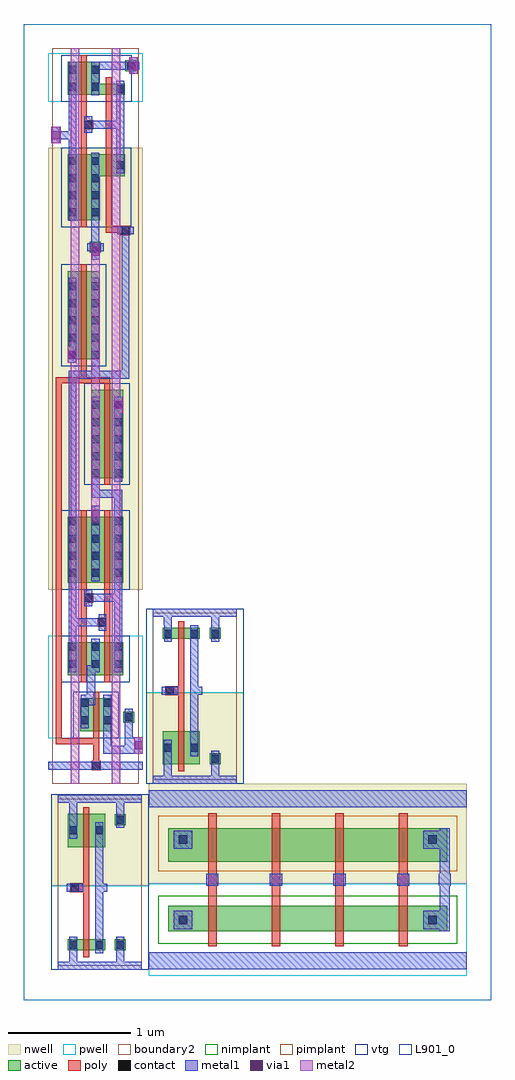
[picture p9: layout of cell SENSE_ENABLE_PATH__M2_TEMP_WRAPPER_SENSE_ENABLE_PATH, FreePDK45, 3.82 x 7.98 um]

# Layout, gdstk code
import gdstk
lib = gdstk.Library(unit=1e-6, precision=1e-09)
def R(c, l, rs):  # rectangles x0, y0, x1, y1
    for r in rs: c.add(gdstk.rectangle(r[:2], r[2:], *l))
def A(c, l, x, y, w, h, nx, ny, dx, dy):  # array of equal rectangles
    R(c, l, [(x+i*dx, y+j*dy, x+i*dx+w, y+j*dy+h) for i in range(nx) for j in range(ny)])
def P(c, l, *ps):  # polygons
    for p in ps: c.add(gdstk.Polygon(p, *l))
active = (1, 0)
pwell = (2, 0)
nwell = (3, 0)
nimplant = (4, 0)
pimplant = (5, 0)
vtg = (6, 0)
poly = (9, 0)
contact = (10, 0)
metal1 = (11, 0)
via1 = (12, 0)
metal2 = (13, 0)
boundary2 = (239, 0)
L901_0 = (901, 0)

sense_enable_path__sense = lib.new_cell('SENSE_ENABLE_PATH__SENSE_ENABLE_PATH__sram_1rw_32x16_freepdk45_contact_11')
R(sense_enable_path__sense, active, [(0,0.022,0.09,0.112)])
R(sense_enable_path__sense, nwell, [(-0.055,-0.033,0.145,0.168)])
R(sense_enable_path__sense, pimplant, [(0,0.022,0.09,0.112)])
R(sense_enable_path__sense, contact, [(0.013,0.035,0.077,0.1)])
R(sense_enable_path__sense, metal1, [(0.013,0,0.077,0.135)])
R(sense_enable_path__sense, boundary2, [(-0.055,-0.033,0.145,0.168)])

c_sense_enable_path__sense = lib.new_cell('SENSE_ENABLE_PATH__SENSE_ENABLE_PATH__sram_1rw_32x16_freepdk45_pmos_m1_w0_270_sm1_dm1_da_p')
R(c_sense_enable_path__sense, active, [(0,0,0.305,0.27)])
R(c_sense_enable_path__sense, nwell, [(-0.08,-0.08,0.385,0.35)])
R(c_sense_enable_path__sense, pimplant, [(0,0,0.305,0.27)])
R(c_sense_enable_path__sense, vtg, [(-0.08,-0.08,0.385,0.35)])
R(c_sense_enable_path__sense, poly, [(0.127,-0.055,0.177,0.325), (0.127,-0.055,0.177,0.325)])
R(c_sense_enable_path__sense, metal1, [(0.013,0.068,0.077,0.203), (0.227,0.068,0.292,0.203)])
R(c_sense_enable_path__sense, boundary2, [(-0.08,-0.08,0.385,0.35)])
c_sense_enable_path__sense.add(gdstk.Reference(sense_enable_path__sense, (0,0.068)))
c_sense_enable_path__sense.add(gdstk.Reference(sense_enable_path__sense, (0.215,0.068)))
c_sense_enable_path__sense.add(gdstk.Label('G', (0.152,0.135), layer=9, texttype=0))
c_sense_enable_path__sense.add(gdstk.Label('S', (0.045,0.135), layer=11, texttype=0))
c_sense_enable_path__sense.add(gdstk.Label('D', (0.26,0.135), layer=11, texttype=0))

c_sense_enable_path__sense_ = lib.new_cell('SENSE_ENABLE_PATH__SENSE_ENABLE_PATH__sram_1rw_32x16_freepdk45_contact_10')
R(c_sense_enable_path__sense_, active, [(0,0.022,0.09,0.112)])
R(c_sense_enable_path__sense_, pwell, [(-0.055,-0.033,0.145,0.168)])
R(c_sense_enable_path__sense_, nimplant, [(0,0.022,0.09,0.112)])
R(c_sense_enable_path__sense_, contact, [(0.013,0.035,0.077,0.1)])
R(c_sense_enable_path__sense_, metal1, [(0.013,0,0.077,0.135)])
R(c_sense_enable_path__sense_, boundary2, [(-0.055,-0.033,0.145,0.168)])

c_sense_enable_path__sense__ = lib.new_cell('SENSE_ENABLE_PATH__SENSE_ENABLE_PATH__sram_1rw_32x16_freepdk45_nmos_m1_w0_090_sm1_dm1_da_p')
R(c_sense_enable_path__sense__, active, [(0,0,0.305,0.09)])
R(c_sense_enable_path__sense__, pwell, [(-0.08,-0.08,0.385,0.17)])
R(c_sense_enable_path__sense__, nimplant, [(0,0,0.305,0.09)])
R(c_sense_enable_path__sense__, vtg, [(-0.08,-0.08,0.385,0.17)])
R(c_sense_enable_path__sense__, poly, [(0.127,-0.055,0.177,0.145), (0.127,-0.055,0.177,0.145)])
R(c_sense_enable_path__sense__, metal1, [(0.013,-0.022,0.077,0.112), (0.227,-0.022,0.292,0.112)])
R(c_sense_enable_path__sense__, boundary2, [(-0.08,-0.08,0.385,0.17)])
c_sense_enable_path__sense__.add(gdstk.Reference(c_sense_enable_path__sense_, (0,-0.022)))
c_sense_enable_path__sense__.add(gdstk.Reference(c_sense_enable_path__sense_, (0.215,-0.022)))
c_sense_enable_path__sense__.add(gdstk.Label('G', (0.152,0.045), layer=9, texttype=0))
c_sense_enable_path__sense__.add(gdstk.Label('S', (0.045,0.045), layer=11, texttype=0))
c_sense_enable_path__sense__.add(gdstk.Label('D', (0.26,0.045), layer=11, texttype=0))

c_sense_enable_path__sense___ = lib.new_cell('SENSE_ENABLE_PATH__SENSE_ENABLE_PATH__sram_1rw_32x16_freepdk45_contact_12')
R(c_sense_enable_path__sense___, active, [(0,0.022,0.09,0.112)])
R(c_sense_enable_path__sense___, nwell, [(-0.055,-0.033,0.145,0.168)])
R(c_sense_enable_path__sense___, nimplant, [(0,0.022,0.09,0.112)])
R(c_sense_enable_path__sense___, contact, [(0.013,0.035,0.077,0.1)])
R(c_sense_enable_path__sense___, metal1, [(0.013,0,0.077,0.135)])
R(c_sense_enable_path__sense___, boundary2, [(-0.055,-0.033,0.145,0.168)])

c_sense_enable_path__sense____ = lib.new_cell('SENSE_ENABLE_PATH__SENSE_ENABLE_PATH__sram_1rw_32x16_freepdk45_contact_13')
R(c_sense_enable_path__sense____, active, [(0,0.022,0.09,0.112)])
R(c_sense_enable_path__sense____, pwell, [(-0.055,-0.033,0.145,0.168)])
R(c_sense_enable_path__sense____, pimplant, [(0,0.022,0.09,0.112)])
R(c_sense_enable_path__sense____, contact, [(0.013,0.035,0.077,0.1)])
R(c_sense_enable_path__sense____, metal1, [(0.013,0,0.077,0.135)])
R(c_sense_enable_path__sense____, boundary2, [(-0.055,-0.033,0.145,0.168)])

c_sense_enable_path__sense_____ = lib.new_cell('SENSE_ENABLE_PATH__SENSE_ENABLE_PATH__sram_1rw_32x16_freepdk45_contact_14')
R(c_sense_enable_path__sense_____, poly, [(0.03,0,0.105,0.075)])
R(c_sense_enable_path__sense_____, contact, [(0.035,0.005,0.1,0.07)])
R(c_sense_enable_path__sense_____, metal1, [(0,0.005,0.135,0.07)])
R(c_sense_enable_path__sense_____, boundary2, [(0,0,0.135,0.075)])

c_sense_enable_path__sense______ = lib.new_cell('SENSE_ENABLE_PATH__SENSE_ENABLE_PATH__gen_inv')
R(c_sense_enable_path__sense______, pwell, [(-0.055,-0.033,0.743,0.655)])
R(c_sense_enable_path__sense______, nwell, [(-0.055,0.655,0.743,1.4)])
R(c_sense_enable_path__sense______, vtg, [(-0.055,-0.033,0.743,0.655), (-0.055,0.655,0.743,1.4)])
R(c_sense_enable_path__sense______, poly, [(0.208,0.27,0.258,0.915), (0.14,0.6,0.208,0.675)])
R(c_sense_enable_path__sense______, metal1, [(0,-0.033,0.687,0.033), (0.092,-0.033,0.157,0.103), (0.478,0,0.542,0.17), (0.307,0.103,0.372,1.173), (0.072,0.605,0.208,0.67), (0.34,0.605,0.405,0.67), (0.092,1.038,0.157,1.397), (0.478,1.195,0.542,1.365), (0,1.332,0.687,1.397)])
R(c_sense_enable_path__sense______, boundary2, [(0,0,0.687,1.365), (0,0,0.687,1.365)])
c_sense_enable_path__sense______.add(gdstk.Reference(c_sense_enable_path__sense, (0.08,0.97)))
c_sense_enable_path__sense______.add(gdstk.Reference(c_sense_enable_path__sense__, (0.08,0.125)))
c_sense_enable_path__sense______.add(gdstk.Reference(c_sense_enable_path__sense___, (0.465,1.127)))
c_sense_enable_path__sense______.add(gdstk.Reference(c_sense_enable_path__sense____, (0.465,0.103)))
c_sense_enable_path__sense______.add(gdstk.Reference(c_sense_enable_path__sense_____, (0.072,0.6)))
c_sense_enable_path__sense______.add(gdstk.Label('A', (0.14,0.638), layer=11, texttype=0))
c_sense_enable_path__sense______.add(gdstk.Label('Z', (0.372,0.638), layer=11, texttype=0))
c_sense_enable_path__sense______.add(gdstk.Label('gnd', (0.345,0), layer=11, texttype=0))
c_sense_enable_path__sense______.add(gdstk.Label('vdd', (0.345,1.365), layer=11, texttype=0))

c_sense_enable_path__sense_______ = lib.new_cell('SENSE_ENABLE_PATH__SENSE_ENABLE_PATH__gen_nand4')
R(c_sense_enable_path__sense_______, active, [(0.16,0.36,2.44,0.57), (0.16,0.93,2.44,1.205)])
R(c_sense_enable_path__sense_______, pwell, [(0,0,2.6,0.75)])
R(c_sense_enable_path__sense_______, nwell, [(0,0.75,2.6,1.565)])
R(c_sense_enable_path__sense_______, nimplant, [(0.08,0.26,2.52,0.65)])
R(c_sense_enable_path__sense_______, pimplant, [(0.08,0.85,2.52,1.305)])
A(c_sense_enable_path__sense_______, poly, 0.485, 0.24, 0.07, 1.085, 4, 1, 0.52, 0)
R(c_sense_enable_path__sense_______, contact, [(0.245,0.42,0.315,0.49), (2.285,0.42,2.355,0.49), (0.245,1.075,0.315,1.145), (2.285,1.075,2.355,1.145)])
A(c_sense_enable_path__sense_______, metal1, 0.47, 0.733, 0.1, 0.099, 4, 1, 0.52, 0)
R(c_sense_enable_path__sense_______, metal1, [(0,0.05,2.6,0.19), (1.25,0.07,1.35,0.17), (2.38,0.36,2.46,1.205), (0.205,0.38,0.355,0.53), (2.245,0.38,2.395,0.53), (2.37,0.733,2.47,0.832), (0.205,1.035,0.355,1.185), (2.245,1.035,2.395,1.185), (0,1.375,2.6,1.515), (1.25,1.395,1.35,1.495)])

c_sense_enable_path__sense________ = lib.new_cell('SENSE_ENABLE_PATH__SENSE_ENABLE_PATH__sense_amp')
R(c_sense_enable_path__sense________, active, [(0.595,0.095,0.685,0.185), (0.307,1.58,0.397,1.67), (0.127,1.82,0.387,2.54), (0.127,1.82,0.202,2.54), (0.127,1.82,0.202,2.54), (0.312,1.82,0.387,2.54), (0.312,1.82,0.387,2.54), (0.127,1.905,0.202,2.54), (0.312,1.905,0.387,2.54), (0.317,2.79,0.577,3.51), (0.317,2.79,0.392,3.51), (0.317,2.79,0.392,3.51), (0.502,2.79,0.577,3.51), (0.502,2.79,0.577,3.51), (0.317,2.875,0.392,3.51), (0.502,2.875,0.577,3.51), (0.127,3.827,0.202,4.322), (0.127,3.827,0.387,4.367), (0.127,3.827,0.202,4.367), (0.127,3.827,0.202,4.367), (0.312,3.827,0.387,4.322), (0.312,3.827,0.387,4.367), (0.312,3.827,0.387,4.367), (0.317,3.827,0.392,4.322), (0.317,3.827,0.577,4.367), (0.317,3.827,0.392,4.367), (0.317,3.827,0.392,4.367), (0.502,3.827,0.577,4.322), (0.502,3.827,0.577,4.367), (0.502,3.827,0.577,4.367), (0.127,4.852,0.202,5.067), (0.127,4.852,0.387,5.122), (0.127,4.852,0.202,5.122), (0.127,4.852,0.202,5.122), (0.312,4.852,0.387,5.067), (0.312,4.852,0.387,5.122), (0.312,4.852,0.387,5.122), (0.317,4.852,0.392,5.067), (0.317,4.852,0.577,5.122), (0.317,4.852,0.392,5.122), (0.317,4.852,0.392,5.122), (0.502,4.852,0.577,5.067), (0.502,4.852,0.577,5.122), (0.502,4.852,0.577,5.122), (0.227,5.31,0.302,5.525), (0.227,5.31,0.487,5.58), (0.227,5.31,0.302,5.58), (0.227,5.31,0.302,5.58), (0.412,5.31,0.487,5.525), (0.412,5.31,0.487,5.58), (0.412,5.31,0.487,5.58), (0.58,5.42,0.67,5.51)])
P(c_sense_enable_path__sense________, active, [(0.127,0.11),(0.127,0.38),(0.592,0.38),(0.592,0.29),(0.387,0.29),(0.387,0.11)],
  [(0.127,0.865),(0.127,1.405),(0.387,1.405),(0.387,1.045),(0.592,1.045),(0.592,0.865)])
R(c_sense_enable_path__sense________, pwell, [(-0.035,0.055,0.74,0.435), (-0.035,4.797,0.74,5.635), (0.072,4.797,0.442,5.177), (0.262,4.797,0.632,5.177), (0.172,5.255,0.542,5.635), (0.525,5.365,0.725,5.565)])
P(c_sense_enable_path__sense________, pwell, [(-0.035,0.04),(-0.035,0.055),(0.595,0.055),(0.595,0.095),(0.685,0.095),(0.685,0.055),(0.74,0.055),(0.74,0.04)])
R(c_sense_enable_path__sense________, nwell, [(-0.035,0.81,0.74,4.422), (0.072,1.765,0.442,2.595), (0.262,2.735,0.632,3.565), (0.072,3.772,0.442,4.422), (0.262,3.772,0.632,4.422)])
R(c_sense_enable_path__sense________, nimplant, [(0.307,1.58,0.397,1.67), (0.127,4.852,0.387,5.122), (0.317,4.852,0.577,5.122), (0.227,5.31,0.487,5.58)])
P(c_sense_enable_path__sense________, nimplant, [(0.127,0.11),(0.127,0.38),(0.592,0.38),(0.592,0.29),(0.387,0.29),(0.387,0.11)])
R(c_sense_enable_path__sense________, pimplant, [(0.595,0.095,0.685,0.185), (0.127,1.82,0.387,2.54), (0.317,2.79,0.577,3.51), (0.127,3.827,0.387,4.367), (0.317,3.827,0.577,4.367), (0.58,5.42,0.67,5.51)])
P(c_sense_enable_path__sense________, pimplant, [(0.127,0.865),(0.127,1.405),(0.387,1.405),(0.387,1.045),(0.592,1.045),(0.592,0.865)])
R(c_sense_enable_path__sense________, vtg, [(0.072,0.055,0.647,0.435), (0.072,0.81,0.645,1.46), (0.072,1.765,0.442,2.595), (0.262,2.735,0.632,3.565), (0.072,3.772,0.442,4.422), (0.262,3.772,0.632,4.422), (0.072,4.797,0.442,5.177), (0.262,4.797,0.632,5.177), (0.172,5.255,0.542,5.635)])
R(c_sense_enable_path__sense________, poly, [(0.232,0.055,0.282,1.46), (0.257,0.585,0.332,0.66), (0.232,1.765,0.282,1.82), (0.232,1.765,0.282,2.595), (0.232,2.54,0.282,2.595), (0.232,2.595,0.282,2.685), (0.027,2.685,0.472,2.735), (0.027,2.735,0.077,5.635), (0.422,2.735,0.472,2.79), (0.422,2.735,0.472,3.565), (0.422,3.51,0.472,3.565), (0.232,3.772,0.282,3.827), (0.232,3.772,0.282,4.422), (0.422,3.772,0.472,3.827), (0.422,3.772,0.472,4.422), (0.232,4.04,0.282,4.797), (0.422,4.04,0.472,4.797), (0.232,4.367,0.282,4.422), (0.422,4.367,0.472,4.422), (0.257,4.452,0.332,4.527), (0.372,4.652,0.447,4.727), (0.232,4.797,0.282,4.852), (0.232,4.797,0.282,5.177), (0.422,4.797,0.472,4.852), (0.422,4.797,0.472,5.177), (0.232,5.122,0.282,5.177), (0.422,5.122,0.472,5.177), (0.332,5.255,0.382,5.31), (0.332,5.255,0.382,5.635), (0.332,5.58,0.382,5.635), (0.027,5.635,0.382,5.685), (0.332,5.685,0.382,5.89), (0.32,5.822,0.395,5.897)])
P(c_sense_enable_path__sense________, poly, [(0.437,0.235),(0.437,1.505),(0.56,1.505),(0.56,1.525),(0.635,1.525),(0.635,1.45),(0.487,1.45),(0.487,0.235)])
A(c_sense_enable_path__sense________, contact, 0.132, 0.887, 0.065, 0.065, 1, 4, 0, 0.14)
A(c_sense_enable_path__sense________, contact, 0.317, 0.887, 0.065, 0.065, 1, 4, 0, 0.14)
A(c_sense_enable_path__sense________, contact, 0.132, 1.91, 0.065, 0.065, 1, 5, 0, 0.14)
A(c_sense_enable_path__sense________, contact, 0.317, 1.91, 0.065, 0.065, 1, 5, 0, 0.14)
A(c_sense_enable_path__sense________, contact, 0.322, 2.88, 0.065, 0.065, 1, 5, 0, 0.14)
A(c_sense_enable_path__sense________, contact, 0.507, 2.88, 0.065, 0.065, 1, 5, 0, 0.14)
A(c_sense_enable_path__sense________, contact, 0.132, 3.832, 0.065, 0.065, 1, 4, 0, 0.14)
A(c_sense_enable_path__sense________, contact, 0.322, 3.832, 0.065, 0.065, 1, 4, 0, 0.14)
A(c_sense_enable_path__sense________, contact, 0.507, 3.832, 0.065, 0.065, 1, 4, 0, 0.14)
R(c_sense_enable_path__sense________, contact, [(0.61,0.107,0.675,0.172), (0.132,0.142,0.197,0.207), (0.317,0.142,0.382,0.207), (0.132,0.282,0.197,0.347), (0.317,0.282,0.382,0.347), (0.522,0.3,0.587,0.365), (0.262,0.59,0.327,0.655), (0.522,0.92,0.587,0.985), (0.565,1.455,0.63,1.52), (0.32,1.592,0.385,1.657), (0.262,4.457,0.327,4.522), (0.377,4.657,0.442,4.722), (0.132,4.857,0.197,4.922), (0.322,4.857,0.387,4.922), (0.507,4.857,0.572,4.922), (0.132,4.997,0.197,5.062), (0.322,4.997,0.387,5.062), (0.507,4.997,0.572,5.062), (0.232,5.315,0.297,5.38), (0.417,5.315,0.482,5.38), (0.592,5.432,0.657,5.497), (0.232,5.455,0.297,5.52), (0.417,5.455,0.482,5.52), (0.325,5.827,0.39,5.892)])
R(c_sense_enable_path__sense________, metal1, [(0.132,0.107,0.197,1.407), (0.317,0.107,0.382,0.382), (0.382,0.107,0.567,0.172), (0.522,0.265,0.587,0.3), (0.262,0.555,0.327,0.69), (-0.002,0.64,0.062,0.775), (-0.007,0.67,0.067,0.745), (0.067,0.675,0.132,0.74), (0.317,0.852,0.382,0.887), (0.317,0.887,0.382,1.657), (0.522,0.985,0.587,1.02), (0.53,1.455,0.665,1.52), (0.565,1.455,0.63,2.7), (0.285,1.592,0.42,1.657), (0.32,1.592,0.385,1.727), (0.132,1.875,0.197,2.57), (0.317,1.875,0.382,2.57), (0.127,2.435,0.192,2.57), (0.32,2.502,0.385,2.7), (0.132,2.635,0.63,2.7), (0.132,2.7,0.197,3.797), (0.322,2.845,0.387,3.54), (0.507,2.845,0.572,3.54), (0.51,2.845,0.575,2.98), (0.322,3.475,0.387,3.67), (0.322,3.605,0.572,3.67), (0.507,3.605,0.572,3.8), (0.32,3.735,0.385,3.87), (0.132,3.797,0.197,4.352), (0.317,3.797,0.382,4.352), (0.322,3.797,0.387,4.352), (0.507,3.797,0.572,4.352), (0.132,3.96,0.197,4.827), (0.507,3.96,0.572,4.822), (0.262,4.422,0.327,4.557), (0.282,4.457,0.572,4.522), (0.377,4.622,0.442,4.757), (0.132,4.657,0.422,4.722), (0.132,4.822,0.197,5.097), (0.317,4.822,0.382,5.097), (0.322,4.822,0.387,5.097), (0.507,4.822,0.572,5.097), (0.282,5.04,0.352,5.367), (0.232,5.28,0.297,5.555), (0.417,5.28,0.482,5.555), (0.592,5.397,0.657,5.532), (0.592,5.532,0.657,5.762), (0.417,5.545,0.482,5.697), (0.657,5.627,0.672,5.697), (0.672,5.627,0.737,5.762), (0.417,5.697,0.74,5.762), (-0.035,5.827,0.74,5.892), (0.23,5.827,0.295,5.892), (0.29,5.827,0.425,5.892)])
P(c_sense_enable_path__sense________, metal1, [(0.522,0.3),(0.522,0.59),(0.262,0.59),(0.262,0.655),(0.522,0.655),(0.522,0.985),(0.587,0.985),(0.587,0.3)],
  [(0.632,0.072),(0.632,0.107),(0.567,0.107),(0.567,0.172),(0.632,0.172),(0.632,0.207),(0.697,0.207),(0.697,0.172),(0.71,0.172),(0.71,0.107),(0.697,0.107),(0.697,0.072)],
  [(0,1.452),(0,1.452),(0,1.452),(0,1.452)])
R(c_sense_enable_path__sense________, via1, [(0.632,0.107,0.697,0.172), (-0.002,0.675,0.062,0.74), (0.32,1.627,0.385,1.692), (0.127,2.47,0.192,2.535), (0.51,2.88,0.575,2.945), (0.32,3.77,0.385,3.835), (0.672,5.662,0.737,5.727)])
R(c_sense_enable_path__sense________, metal2, [(0.15,0,0.22,6.01), (0.485,0,0.555,6.01), (0.627,0.072,0.702,0.207), (0.627,0.102,0.702,0.177), (-0.01,0.64,0.067,0.775), (-0.007,0.67,0.067,0.745), (0.317,1.592,0.387,1.727), (0.317,1.725,0.387,3.735), (0.125,2.435,0.195,2.57), (0.507,2.845,0.577,2.98), (0.317,3.735,0.387,3.87), (0.67,5.627,0.74,5.762)])
R(c_sense_enable_path__sense________, boundary2, [(0,0,0.705,6.01)])
c_sense_enable_path__sense________.add(gdstk.Label('en', (0.258,5.86), layer=11, texttype=0))
c_sense_enable_path__sense________.add(gdstk.Label('dout', (0.028,0.692), layer=13, texttype=0))
c_sense_enable_path__sense________.add(gdstk.Label('gnd', (0.655,0.123), layer=13, texttype=0))
c_sense_enable_path__sense________.add(gdstk.Label('bl', (0.19,0.005), layer=13, texttype=0))
c_sense_enable_path__sense________.add(gdstk.Label('br', (0.52,0.006), layer=13, texttype=0))
c_sense_enable_path__sense________.add(gdstk.Label('vdd', (0.352,3.8), layer=13, texttype=0))
c_sense_enable_path__sense________.add(gdstk.Label('gnd', (0.702,5.735), layer=13, texttype=0))

c_sense_enable_path__sense_________ = lib.new_cell('SENSE_ENABLE_PATH__SENSE_ENABLE_PATH__SENSE_ENABLE_PATH')
c_sense_enable_path__sense_________.add(gdstk.Reference(c_sense_enable_path__sense______, (0.08,0.08)))
c_sense_enable_path__sense_________.add(gdstk.Reference(c_sense_enable_path__sense_______, (0.822,0)))
c_sense_enable_path__sense_________.add(gdstk.Reference(c_sense_enable_path__sense________, (0.035,7.575), x_reflection=True))
c_sense_enable_path__sense_________.add(gdstk.Reference(c_sense_enable_path__sense______, (0.855,2.965), x_reflection=True))

sense_enable_path__m2_te = lib.new_cell('SENSE_ENABLE_PATH__M2_TEMP_WRAPPER_SENSE_ENABLE_PATH')
R(sense_enable_path__m2_te, L901_0, [(-0.2,-0.2,3.622,7.775)])
sense_enable_path__m2_te.add(gdstk.Reference(c_sense_enable_path__sense_________, (0,0)))
sense_enable_path__m2_te.add(gdstk.Label('TEMP_WRAPPER_FOR_M2_REVIEW', (0,8.075), layer=900, texttype=0))
sense_enable_path__m2_te.add(gdstk.Label('SENSE_ENABLE_PATH candidate composite', (0,8.675), layer=900, texttype=0))

lib.write_gds('SENSE_ENABLE_PATH__M2_TEMP_WRAPPER_SENSE_ENABLE_PATH.gds')
